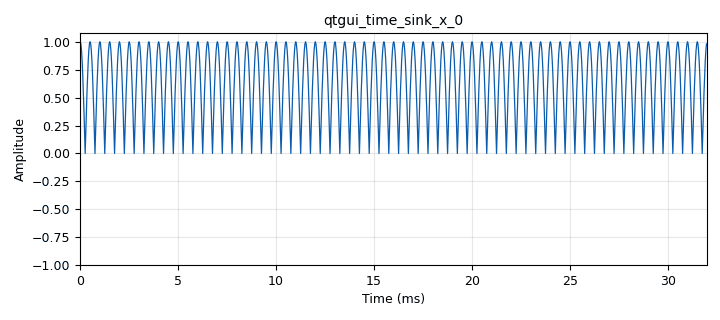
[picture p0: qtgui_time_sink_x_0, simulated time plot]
options:
  parameters:
    generate_options: qt_gui
    id: ABS
    output_language: python
    title: Exercise 1
  states: {}

blocks:
- name: samp_rate
  id: variable
  parameters:
    value: '32000'
  states: {}
- name: analog_sig_source_x_0
  id: analog_sig_source_x
  parameters:
    amp: '1'
    freq: '1000'
    offset: '0'
    phase: '0'
    samp_rate: samp_rate
    type: float
    waveform: analog.GR_COS_WAVE
  states: {}
- name: blocks_abs_xx_0
  id: blocks_abs_xx
  parameters:
    type: float
  states: {}
- name: blocks_throttle_0
  id: blocks_throttle
  parameters:
    samples_per_second: samp_rate
    type: float
  states: {}
- name: note_0
  id: note
  parameters:
    note: 'Takes absolute value of data stream (i.e. strips sign). Only supports float, int, and short (not complex). '
  states: {}
- name: qtgui_time_sink_x_0
  id: qtgui_time_sink_x
  parameters:
    size: '1024'
    srate: samp_rate
    type: float
  states: {}

connections:
- [analog_sig_source_x_0, '0', blocks_throttle_0, '0']
- [blocks_abs_xx_0, '0', qtgui_time_sink_x_0, '0']
- [blocks_throttle_0, '0', blocks_abs_xx_0, '0']

metadata:
  file_format: 1
